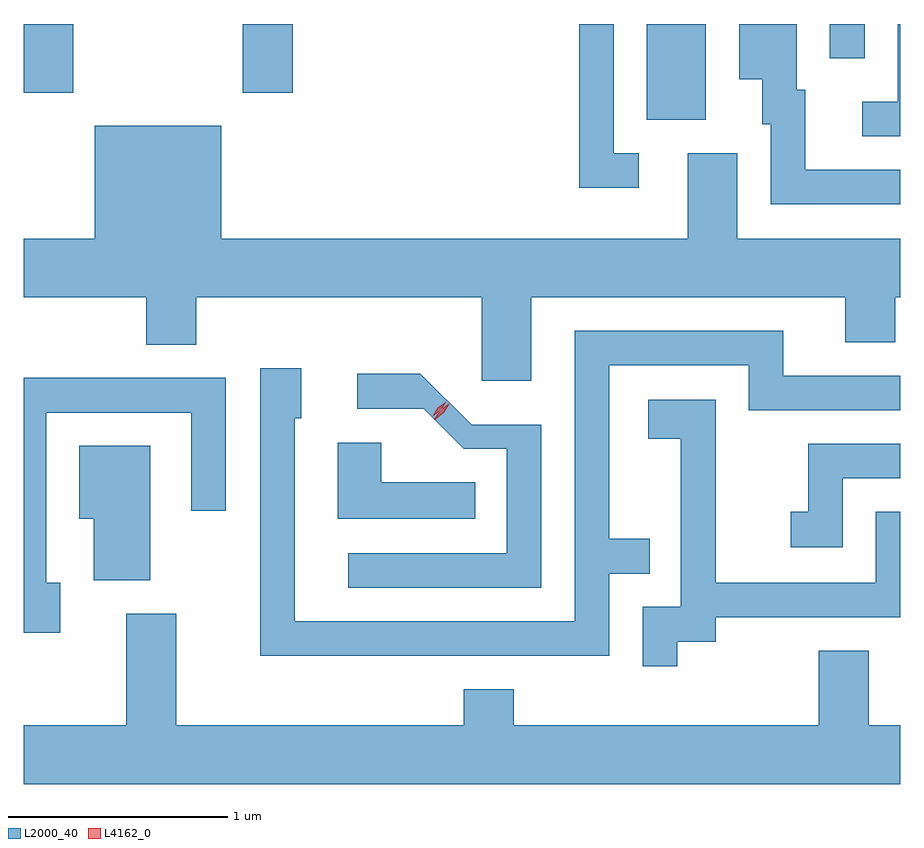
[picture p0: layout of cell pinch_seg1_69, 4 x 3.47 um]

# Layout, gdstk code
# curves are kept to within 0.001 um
import gdstk
lib = gdstk.Library(unit=1e-6, precision=1e-09)
def R(c, l, rs):  # rectangles x0, y0, x1, y1
    for r in rs: c.add(gdstk.rectangle(r[:2], r[2:], *l))
def P(c, l, *ps):  # polygons
    for p in ps: c.add(gdstk.Polygon(p, *l))
L2000_40 = (2000, 40)
L4162_0 = (4162, 0)

pinch_seg1_69 = lib.new_cell('pinch_seg1_69')
R(pinch_seg1_69, L2000_40, [(211.526,869.306,211.794,869.744), (208.682,869.431,208.909,869.744), (209.681,869.431,209.909,869.744), (212.361,869.588,212.519,869.744)])
P(pinch_seg1_69, L2000_40, [(211.488,869.154),(211.374,869.154),(211.374,869.744),(211.216,869.744),(211.216,868.996),(211.488,868.996)],
  [(212.682,869.079),(212.249,869.079),(212.249,869.444),(212.209,869.444),(212.209,869.744),(211.946,869.744),(211.946,869.491),(212.051,869.491),(212.051,869.286),(212.091,869.286),(212.091,868.921),(212.682,868.921)],
  [(212.682,869.744),(212.671,869.744),(212.671,869.389),(212.508,869.389),(212.508,869.231),(212.682,869.231)],
  [(210.999,868.496),(212.431,868.496),(212.431,868.291),(212.659,868.291),(212.659,868.496),(212.682,868.496),(212.682,868.764),(211.939,868.764),(211.939,869.154),(211.711,869.154),(211.711,868.764),(209.584,868.764),(209.584,869.279),(209.006,869.279),(209.006,868.764),(208.682,868.764),(208.682,868.496),(209.241,868.496),(209.241,868.281),(209.469,868.281),(209.469,868.496),(210.771,868.496),(210.771,868.116),(210.999,868.116)],
  [(211.354,867.236),(211.538,867.236),(211.538,867.394),(211.354,867.394),(211.354,868.186),(211.991,868.186),(211.991,867.981),(212.682,867.981),(212.682,868.139),(212.149,868.139),(212.149,868.344),(211.196,868.344),(211.196,867.019),(209.919,867.019),(209.919,867.946),(209.949,867.946),(209.949,868.174),(209.761,868.174),(209.761,866.861),(211.354,866.861)],
  [(211.044,867.916),(210.726,867.915),(210.492,868.149),(210.203,868.149),(210.203,867.988),(210.508,867.988),(210.69,867.806),(210.886,867.806),(210.886,867.329),(210.163,867.329),(210.163,867.171),(211.044,867.171)],
  [(208.849,867.194),(208.784,867.194),(208.784,867.971),(209.446,867.971),(209.446,867.523),(209.604,867.523),(209.604,868.129),(208.682,868.129),(208.682,866.966),(208.849,866.966)],
  [(211.664,866.926),(211.839,866.926),(211.839,867.036),(212.682,867.036),(212.682,867.519),(212.571,867.519),(212.571,867.194),(211.839,867.194),(211.839,868.029),(211.531,868.029),(211.531,867.851),(211.681,867.851),(211.681,867.084),(211.506,867.084),(211.506,866.813),(211.664,866.813)],
  [(210.743,867.654),(210.314,867.654),(210.314,867.834),(210.116,867.834),(210.116,867.486),(210.743,867.486)],
  [(212.419,867.671),(212.682,867.671),(212.682,867.829),(212.261,867.829),(212.261,867.519),(212.183,867.519),(212.183,867.356),(212.419,867.356)],
  [(209.259,867.819),(208.936,867.819),(208.936,867.486),(209.001,867.486),(209.001,867.206),(209.259,867.206)],
  [(212.682,866.544),(212.539,866.544),(212.539,866.884),(212.311,866.884),(212.311,866.544),(210.919,866.544),(210.919,866.709),(210.691,866.709),(210.691,866.544),(209.379,866.544),(209.379,867.054),(209.151,867.054),(209.151,866.544),(208.682,866.544),(208.682,866.276),(212.682,866.276)])
P(pinch_seg1_69, L4162_0, [(210.556,867.939),(210.556,867.94),(210.584,867.983),(210.625,868.013),(210.626,868.013),(210.626,868.013),(210.598,867.969),(210.557,867.939)],
  [(210.548,867.954),(210.548,867.954),(210.572,867.994),(210.609,868.021),(210.609,868.021),(210.609,868.02),(210.586,867.981),(210.549,867.954)])

lib.write_gds('pinch_seg1_69.gds')
